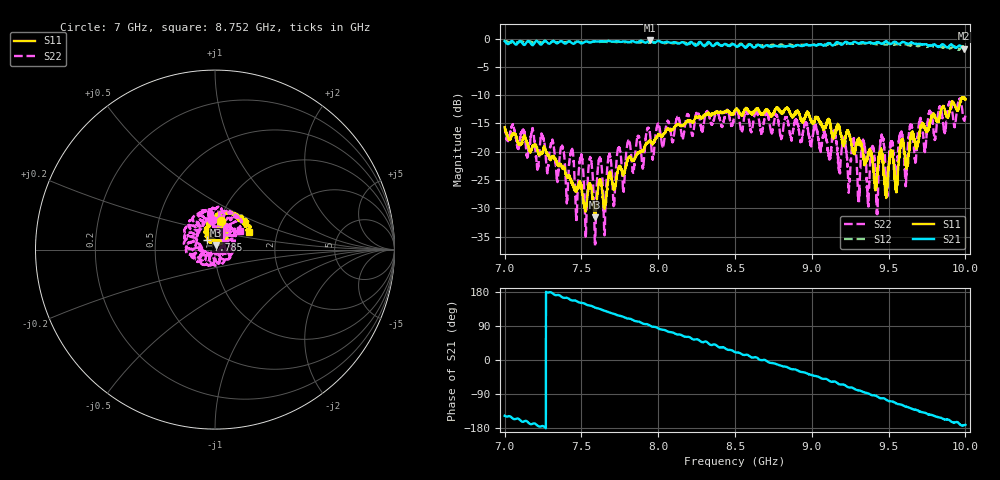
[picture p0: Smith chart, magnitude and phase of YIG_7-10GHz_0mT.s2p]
#  HZ  S  RI  R  50.0
! Rohde & Schwarz ZVL13 2Ports - Version 3.31 - 1303.6509k13 SN: 101088
! Date: 2023-03-06 15:22:15
! Data & Calibration Information:
! Trc4:S11(TOSM) Trc2:S21(TOSM) Trc3:S12(TOSM) Trc5:S22(TOSM)
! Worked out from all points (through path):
!   4000 points, 7 GHz to 10 GHz, reference 50 ohm
!   highest |S21| = -0.34 dB at 7.944 GHz (marker M1); lowest = -1.8 dB at 9.989 GHz (marker M2)
!   group delay of S21, straight-line fit = 357 ps
!   lowest |S11| = -31.6 dB at 7.587 GHz (marker M3), VSWR 1.05, Z = 50.6 + j2.59 ohm
!   |S11| at or under -10 dB: start of sweep to end of sweep
!   |S22| runs from -36.7 to -10.6 dB; largest |S21 - S12| = 0.11
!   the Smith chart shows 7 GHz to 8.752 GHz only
!   S11 on the Smith chart (normalised r, x): 7 GHz: 1.01, +0.34; 7.785 GHz: 0.91, +0.10; 8.752 GHz: 1.43, +0.30
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7e9  0.034 0.1612  -0.7983 -0.5138  -0.7561 -0.5542  -0.0166 0.1674
7.374344e9  0.0487 0.0542  -0.9121 0.2317  -0.9133 0.218  0.107 0.0376
7.405851e9  0.0411 0.0452  -0.8844 0.2528  -0.8959 0.263  0.0407 -9.2e-05
7.435859e9  0.0347 0.043  -0.8467 0.3502  -0.8653 0.3431  0.1027 -0.00463
7.467367e9  0.0317 0.0341  -0.8507 0.3828  -0.85 0.3939  0.0247 -0.00368
7.500375e9  0.019 0.0472  -0.7869 0.4463  -0.8047 0.463  0.0859 -0.0395
7.528132e9  0.0149 0.0268  -0.791 0.5107  -0.7845 0.5149  0.0131 -0.0143
7.56114e9  0.00697 0.0478  -0.7394 0.5543  -0.7333 0.5709  0.0451 -0.0723
7.586647e9  0.0062 0.0256  -0.7119 0.6216  -0.7052 0.621  0.00953 -0.014
7.618905e9  -0.00485 0.0554  -0.6668 0.6697  -0.6511 0.6656  -0.00241 -0.0872
7.649662e9  -0.00553 0.0318  -0.6036 0.7212  -0.6018 0.7215  -0.00307 -0.0189
7.68042e9  -0.0147 0.061  -0.5555 0.7714  -0.5537 0.7517  -0.0432 -0.0839
7.784696e9  -0.0423 0.0552  -0.3461 0.8755  -0.3534 0.8579  -0.0722 -0.00616
7.943736e9  -0.0349 0.1184  -0.0252 0.9608  -0.0441 0.9205  -0.1491 -0.0233
8e9  -0.0402 0.136  0.1032 0.9465  0.0704 0.9129  -0.1729 0.039
8.500375e9  0.1418 0.1839  0.8176 0.3077  0.8086 0.3103  0.0386 0.2196
8.751688e9  0.1903 0.1  0.8479 -0.1282  0.8674 -0.1432  0.142 0.1036
9e9  0.1841 0.0248  0.6728 -0.5608  0.6837 -0.5685  0.123 -0.0177
9.500375e9  0.0744 0.00843  -0.2871 -0.8616  -0.252 -0.8608  -0.0688 0.0266
9.769692e9  0.1477 0.099  -0.7007 -0.4989  -0.6817 -0.5452  -0.0705 0.2163
9.989497e9  0.2714 0.115  -0.8072 -0.1099  -0.8364 -0.1357  0.0611 0.1805
1e10  0.2628 0.1216  -0.8215 -0.1274  -0.8036 -0.096  0.1259 0.1663
